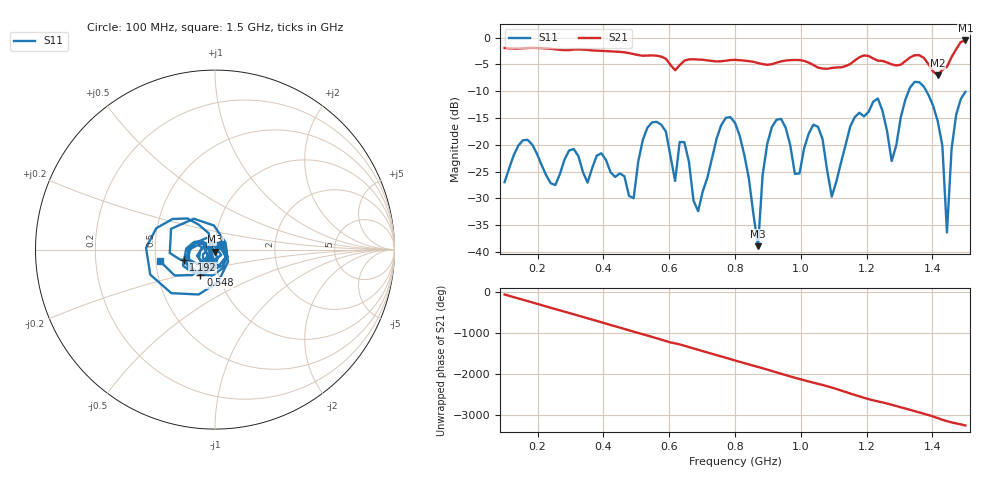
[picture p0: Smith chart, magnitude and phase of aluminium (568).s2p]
! NanoVNA-App
! Date: 2025-09-25 14:59:42
! Start: 100MHz Stop: 1,5GHz Points: 101
! S-Parameter data: F S11 S21 S12 S22
# Hz S RI R 50
!  Frequency  S11_Real  S11_Imag  S21_Real  S21_Imag  S12_Real  S12_Imag  S22_Real  S22_Imag
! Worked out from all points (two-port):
!   101 points, 100 MHz to 1.5 GHz, reference 50 ohm
!   highest |S21| = -0.52 dB at 1.5 GHz (marker M1); lowest = -7.0 dB at 1.416 GHz (marker M2)
!   |S21| within 3 dB of the highest: start of sweep to 574.8 MHz; 1.459 GHz to end of sweep (the widest 2 of 4)
!   lowest |S11| = -38.9 dB at 870 MHz (marker M3), VSWR 1.02, Z = 50.2 - j1.13 ohm
!   |S11| at or under -10 dB: start of sweep to 1.327 GHz; 1.382 GHz to end of sweep
!   S12 and S22 are empty: the file has one direction only
!   S11 on the Smith chart (normalised r, x): 100 MHz: 1.07, +0.06; 548 MHz: 0.82, -0.24; 1.192 GHz: 0.70, -0.08; 1.5 GHz: 0.53, -0.08
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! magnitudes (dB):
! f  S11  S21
! 100 MHz  -27.0  -1.9
! 156 MHz  -19.1  -2.0
! 338 MHz  -25.1  -2.2
! 492 MHz  -30.0  -3.1
! 548 MHz  -15.8  -3.3
! 576 MHz  -16.2  -3.5
! 646 MHz  -19.5  -4.3
! 688 MHz  -32.4  -4.1
! 800 MHz  -15.9  -4.1
! 870 MHz  -38.9  -4.7
! 912 MHz  -16.7  -4.9
! 982 MHz  -25.4  -4.2
! 1.038 GHz  -16.2  -5.1
! 1.094 GHz  -29.7  -5.6
! 1.192 GHz  -14.7  -3.3
! 1.234 GHz  -11.3  -4.3
! 1.276 GHz  -23.0  -5.0
! 1.346 GHz  -8.2  -3.3
! 1.416 GHz  -15.6  -7.0
! 1.444 GHz  -36.3  -5.4
! 1.458 GHz  -20.8  -3.6
! 1.5 GHz  -10.1  -0.5
